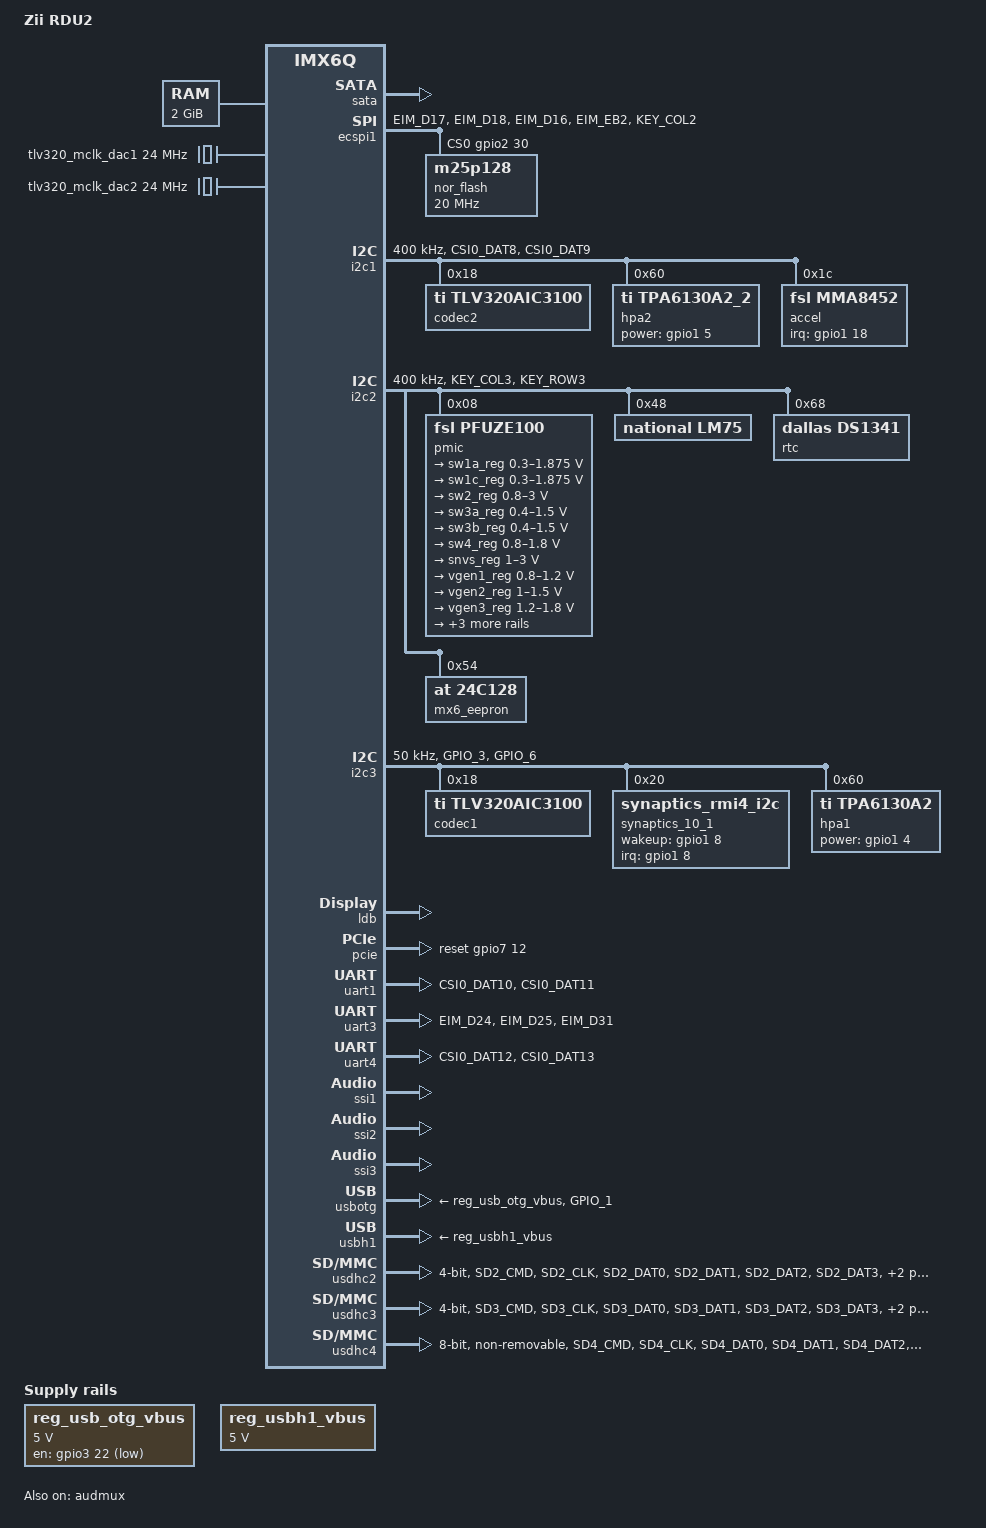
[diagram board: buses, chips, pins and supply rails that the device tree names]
/*
 * Copyright 2012 Freescale Semiconductor, Inc.
 * Copyright 2011 Linaro Ltd.
 *
 * The code contained herein is licensed under the GNU General Public
 * License. You may obtain a copy of the GNU General Public License
 * Version 2 or later at the following locations:
 *
 * http://www.opensource.org/licenses/gpl-license.html
 * http://www.gnu.org/copyleft/gpl.html
 */

#include "imx6q.dtsi"
#include <dt-bindings/sound/fsl-imx-audmux.h>

/ {
	model = "Zii RDU2";
	compatible = "fsl,imx6q-sabresd", "fsl,imx6q";

	chosen {
		stdout-path = &uart1;
	};

	aliases {
		mxcfb0 = &mxcfb1;
	};

	memory {
		reg = <0x10000000 0x80000000>;
	};

	regulators {
		compatible = "simple-bus";

		reg_usb_otg_vbus: usb_otg_vbus {
			compatible = "regulator-fixed";
			regulator-name = "usb_otg_vbus";
			regulator-min-microvolt = <5000000>;
			regulator-max-microvolt = <5000000>;
			gpio = <&gpio3 22 0>;
			enable-active-low;
			/*regulator-always-on;*/
		};

		reg_usbh1_vbus: usb-h1-vbus {
			compatible = "regulator-fixed";
			regulator-name = "usb_h1_vbus";
			regulator-min-microvolt = <5000000>;
			regulator-max-microvolt = <5000000>;
			regulator-always-on;
		};
	};

	lcd@0 {
		compatible = "fsl,lcd";
		ipu_id = <1>;
		disp_id = <0>;
		default_ifmt = "RGB24";
		status = "okay";
	};

	v4l2_out {
		compatible = "fsl,mxc_v4l2_output";
		status = "okay";
	};

	mxcfb1: fb@0 {
		compatible = "fsl,mxc_sdc_fb";
		disp_dev = "ldb";
		interface_pix_fmt = "RGB24";
		mode_str ="INNOLUX-10";
		default_bpp = <32>;
		int_clk = <0>;
		late_init = <0>;
		status = "okay";
	};

	tlv320_mclk_dac1: oscillator {
		compatible = "fixed-clock";
		#clock-cells = <0>;
		clock-frequency = <24000000>;
		clock-output-names = "tlv320-mclk";
	};

	tlv320_mclk_dac2: oscillator {
		compatible = "fixed-clock";
		#clock-cells = <0>;
		clock-frequency = <24000000>;
		clock-output-names = "tlv320-mclk";
	};

	sound1 {
		compatible = "fsl,imx-audio-tlv320aic31xx";
		model = "tlv320aic31xx_front-codec";
		cpu-dai = <&ssi2>;
		audio-codec = <&codec1>;
		audio-routing =
			"DAC Left Input", "DAC_IN",
			"DAC Right Input", "DAC_IN",
			"DAC Left", "DAC Left Input",
			"DAC Right", "DAC Right Input",
			"Output Left", "DAC Left",
			"Output Right", "DAC Right",
			"HP Left", "Output Left",
			"HP Right", "Output Right",
			"HPL Driver", "HP Left",
			"HPR Driver", "HP Right",
			"HPL", "HPL Driver",
			"HPR", "HPR Driver",
			"Headphone Jack", "HPL",
			"Headphone Jack", "HPR";

		mux-int-port = <2>;
		mux-ext-port = <5>;
	};

	sound2 {
		compatible = "fsl,imx-audio-tlv320aic31xx_2";
		model = "tlv320aic31xx_periph-codec";
		cpu-dai = <&ssi1>;
		audio-codec = <&codec2>;
		audio-routing =
			"DAC Left Input", "DAC_IN",
			"DAC Right Input", "DAC_IN",
			"DAC Left", "DAC Left Input",
			"DAC Right", "DAC Right Input",
			"Output Left", "DAC Left",
			"Output Right", "DAC Right",
			"HP Left", "Output Left",
			"HP Right", "Output Right",
			"HPL Driver", "HP Left",
			"HPR Driver", "HP Right",
			"HPL", "HPL Driver",
			"HPR", "HPR Driver",
			"Headphone Jack", "HPL",
			"Headphone Jack", "HPR";

		mux-int-port = <1>;
		mux-ext-port = <3>;
	};
};

&audmux {
	pinctrl-names = "default";
	/*pinctrl-0 = <&pinctrl_ssi1>;
	pinctrl-1 = <&pinctrl_ssi2>;*/
	status = "okay";
};

&sata {
	status = "okay";
};

&ecspi1 {
	fsl,spi-num-chipselects = <1>;
	cs-gpios = <&gpio2 30 0>;
	pinctrl-names = "default";
	pinctrl-0 = <&pinctrl_ecspi1>;
	status = "okay";

	nor_flash: m25p128@0 {
		#address-cells = <1>;
		#size-cells = <1>;
		compatible = "m25p128";
		spi-max-frequency = <20000000>;
		reg = <0>;
	};
};

&i2c1 {
	clock-frequency = <400000>;
	pinctrl-names = "default";
	pinctrl-0 = <&pinctrl_i2c1>;
	status = "okay";

	/*nfc*/

	/*edp*/

	/*audio_dac -- TODO DRIVER SUPPORT???? */
	codec2: tlv320dac3100@18 {
		#sound-dai-cells = <0>;
		compatible = "ti,tlv320aic3100";
		reg = <0x18>;
		clocks = <&tlv320_mclk_dac2>;
	};

	hpa2: tpa6130a2@60 {
		compatible = "ti,tpa6130a2_2";
		reg = <0x60>;
		power-gpios = <&gpio1 5 GPIO_ACTIVE_HIGH>;
	};

	accel: mma8451@1c {
		compatible = "fsl,mma8452";
		reg = <0x1c>;
		interrupt-parent = <&gpio1>;
		interrupts = <18 IRQ_TYPE_EDGE_RISING
					  20 IRQ_TYPE_EDGE_RISING>;
		pinctrl-names = "default";
		pinctrl-0 = <&pinctrl_accel_int>;
	};
};

&i2c2 {
	clock-frequency = <400000>;
	pinctrl-names = "default";
	pinctrl-0 = <&pinctrl_i2c2>;
	status = "okay";

	pmic: pfuze100@08 {
		compatible = "fsl,pfuze100";
		reg = <0x08>;

		regulators {
			/* VDDCORE */
			sw1a_reg: sw1ab {
				regulator-min-microvolt = <300000>;
				regulator-max-microvolt = <1875000>;
				regulator-boot-on;
				regulator-always-on;
				regulator-ramp-delay = <6250>;
			};

			/* VDDSOC */
			sw1c_reg: sw1c {
				regulator-min-microvolt = <300000>;
				regulator-max-microvolt = <1875000>;
				regulator-boot-on;
				regulator-always-on;
				regulator-ramp-delay = <6250>;
			};

			/* VDDHIGH_3V0 */
			sw2_reg: sw2 {
				regulator-min-microvolt = <800000>;
				regulator-max-microvolt = <3000000>;
				regulator-boot-on;
				regulator-always-on;
			};

			/* DDR_1V5 */
			sw3a_reg: sw3a {
				regulator-min-microvolt = <400000>;
				regulator-max-microvolt = <1500000>;
				regulator-boot-on;
				regulator-always-on;
			};

			/* DDR_1V5 */
			sw3b_reg: sw3b {
				regulator-min-microvolt = <400000>;
				regulator-max-microvolt = <1500000>;
				regulator-boot-on;
				regulator-always-on;
			};

			/* VGEN_1V8 */
			sw4_reg: sw4 {
				regulator-min-microvolt = <800000>;
				regulator-max-microvolt = <1800000>;
			};

			/* VSNVS_3V0 */
			snvs_reg: vsnvs {
				regulator-min-microvolt = <1000000>;
				regulator-max-microvolt = <3000000>;
				regulator-boot-on;
				regulator-always-on;
			};

			vref_reg: vrefddr {
				regulator-boot-on;
				regulator-always-on;
			};

			/* VGEN1_1V2 */
			vgen1_reg: vgen1 {
				regulator-min-microvolt = <800000>;
				regulator-max-microvolt = <1200000>;
			};

			/* VGEN2_1V5 */
			vgen2_reg: vgen2 {
				regulator-min-microvolt = <1000000>;
				regulator-max-microvolt = <1500000>;
			};

			/* VGEN3_1V8 */
			vgen3_reg: vgen3 {
				regulator-min-microvolt = <1200000>;
				regulator-max-microvolt = <1800000>;
			};

			/* VGEN4_1V8 */
			vgen4_reg: vgen4 {
				regulator-min-microvolt = <1200000>;
				regulator-max-microvolt = <1800000>;
				regulator-always-on;
			};

			/* VGEN5_2V5 */
			vgen5_reg: vgen5 {
				regulator-min-microvolt = <1800000>;
				regulator-max-microvolt = <2500000>;
				regulator-always-on;
			};

			/* VGEN6_2V8 */
			vgen6_reg: vgen6 {
				regulator-min-microvolt = <1800000>;
				regulator-max-microvolt = <2800000>;
				regulator-always-on;
			};
		};
	};

	lm75@48 {
		compatible = "national,lm75";
		reg = <0x48>;
	};

	rtc: ds1341@68 {
		compatible = "dallas,ds1341";
		reg = <0x68>;
	};

	mx6_eepron: at24@54 {
		compatible = "at,24c128";
		pagesize = <32>; /* TODO: VERIFY PAGE SIZE */
		reg = <0x54>;
	};

	/*switch wd - NO DRIVER YET*/

	/*audio mclk - NO DRIVER YET*/
};

&i2c3 {
	clock-frequency = <50000>;
	pinctrl-names = "default";
	pinctrl-0 = <&pinctrl_i2c3>;
	status = "okay";

	/* Audio dac1 - NEED TO LOOK INTO DRIVER */

	codec1: tlv320dac3100@18 {
		#sound-dai-cells = <0>;
		compatible = "ti,tlv320aic3100";
		reg = <0x18>;
		clocks = <&tlv320_mclk_dac1>;
	};

	/* USB Power Ctrl */

	/* Touch Screen */
	synaptics_10_1: synaptics_rmi4_i2c@20 {
		compatible = "synaptics_rmi4_i2c";
		reg = <0x20>;
		interrupt-parent = <&gpio1>;
		interrupts = <8 2>;
		wakeup-gpios = <&gpio1 8 0>;
	};

	hpa1: tpa6130a2@60 {
		compatible = "ti,tpa6130a2";
		reg = <0x60>;

		power-gpio = <&gpio1 4 GPIO_ACTIVE_HIGH>;
	};
};

&iomuxc {
	pinctrl-names = "default";
	pinctrl-0 = <&pinctrl_hog>;

	imx6qdl-sabresd {
		pinctrl_hog: hoggrp {
			fsl,pins = <
				/* USB Charging Controller */
				MX6QDL_PAD_EIM_A25__GPIO5_IO02  	0x1b0b0 /*USB_ATT_DETn*/
				MX6QDL_PAD_EIM_D19__GPIO3_IO19  	0x1b0b0 /*USB_EMULATION*/
				MX6QDL_PAD_EIM_D20__GPIO3_IO20  	0x1b0b0 /*USB_MODE1*/
				MX6QDL_PAD_EIM_D21__GPIO3_IO21  	0x1b0b0 /*USB_ALERTn*/
				MX6QDL_PAD_EIM_D22__GPIO3_IO22  	0x1b0b0 /*USB_PWR_CTRL_ENn*/
				MX6QDL_PAD_EIM_D23__GPIO3_IO23  	0x1b0b0 /*USB_MODE2*/

				/* DAC */
				MX6QDL_PAD_GPIO_0__GPIO1_IO00		0x1b0b0 /*DAC1_RESET*/
				MX6QDL_PAD_GPIO_2__GPIO1_IO02		0x1b0b0 /*DAC2_RESET*/

				/* Need to Place */
				MX6QDL_PAD_EIM_D30__GPIO3_IO30		0x1b0b0 /*RMII_INTRPT*/
				MX6QDL_PAD_SD3_RST__GPIO7_IO08		0x1b8b0 /*SD_CARD_RESET - Open Drain Output*/

				/* Audio AMP Shutdowns */
				MX6QDL_PAD_GPIO_4__GPIO1_IO04		0x1B818 /*HPA1_SD_N*/
				MX6QDL_PAD_GPIO_5__GPIO1_IO05		0x1B818 /*HPA2_SD_N*/

				/* Test Points */
				MX6QDL_PAD_SD3_DAT4__GPIO7_IO01		0x1b0b0 /*TP20*/
				MX6QDL_PAD_SD3_DAT5__GPIO7_IO00		0x1b0b0 /*TP21*/
				MX6QDL_PAD_SD3_DAT6__GPIO6_IO18		0x1b0b0 /*TP22*/
				MX6QDL_PAD_SD3_DAT7__GPIO6_IO17		0x1b0b0 /*TP23*/
				MX6QDL_PAD_KEY_ROW2__GPIO4_IO11		0x1b0b0 /*TP19*/
				MX6QDL_PAD_NANDF_CS1__GPIO6_IO14	0x1b0b0 /*TP26*/
				MX6QDL_PAD_NANDF_D4__GPIO2_IO04		0x1b0b0 /*TP27*/
				MX6QDL_PAD_NANDF_D5__GPIO2_IO05		0x1b0b0 /*TP28*/
				MX6QDL_PAD_NANDF_D6__GPIO2_IO06		0x1b0b0 /*TP29*/
				MX6QDL_PAD_NANDF_D7__GPIO2_IO07		0x1b0b0 /*TP30*/
				MX6QDL_PAD_EIM_BCLK__GPIO6_IO31		0x1b0b0 /*TP25*/
				MX6QDL_PAD_CSI0_MCLK__GPIO5_IO19	0x1b0b0 /*TP39*/
				MX6QDL_PAD_CSI0_PIXCLK__GPIO5_IO18	0x1b0b0 /*TP40*/
				MX6QDL_PAD_CSI0_VSYNC__GPIO5_IO21	0x1b0b0 /*TP42*/
				MX6QDL_PAD_CSI0_DATA_EN__GPIO5_IO20	0x1b0b0 /*TP43*/
				MX6QDL_PAD_CSI0_DAT14__GPIO6_IO00	0x1b0b0 /*TP44*/
				MX6QDL_PAD_CSI0_DAT15__GPIO6_IO01	0x1b0b0 /*TP45*/
				MX6QDL_PAD_CSI0_DAT16__GPIO6_IO02	0x1b0b0 /*TP46*/
				MX6QDL_PAD_DI0_PIN4__GPIO4_IO20		0x1b0b0 /*TP41*/

				/* System Type */
				MX6QDL_PAD_EIM_D26__GPIO3_IO26		0x1b0b0 /*SYS_TYPE_3*/
				MX6QDL_PAD_EIM_D27__GPIO3_IO27		0x1b0b0 /*SYS_TYPE_2*/
				MX6QDL_PAD_EIM_D28__GPIO3_IO28		0x1b0b0 /*SYS_TYPE_1*/
				MX6QDL_PAD_EIM_D29__GPIO3_IO29		0x1b0b0 /*SYS_TYPE_0*/

				/* Boot Mode Selection Pins */
				MX6QDL_PAD_EIM_DA0__GPIO3_IO00		0x1b0b0 /*BT_CFG1_0*/
				MX6QDL_PAD_EIM_DA1__GPIO3_IO01		0x1b0b0 /*BT_CFG1_1*/
				MX6QDL_PAD_EIM_DA2__GPIO3_IO02		0x1b0b0 /*BT_CFG1_2*/
				MX6QDL_PAD_EIM_DA3__GPIO3_IO03		0x1b0b0 /*BT_CFG1_3*/
				MX6QDL_PAD_EIM_DA4__GPIO3_IO04		0x1b0b0 /*BT_CFG1_4*/
				MX6QDL_PAD_EIM_DA5__GPIO3_IO05		0x1b0b0 /*BT_CFG1_5*/
				MX6QDL_PAD_EIM_DA6__GPIO3_IO06		0x1b0b0 /*BT_CFG1_6*/
				MX6QDL_PAD_EIM_DA7__GPIO3_IO07		0x1b0b0 /*BT_CFG1_7*/

				MX6QDL_PAD_EIM_DA8__GPIO3_IO08		0x1b0b0 /*BT_CFG2_0*/
				MX6QDL_PAD_EIM_DA9__GPIO3_IO09		0x1b0b0 /*BT_CFG2_1*/
				MX6QDL_PAD_EIM_DA10__GPIO3_IO10		0x1b0b0 /*BT_CFG2_2*/
				MX6QDL_PAD_EIM_DA11__GPIO3_IO11		0x1b0b0 /*BT_CFG2_3*/
				MX6QDL_PAD_EIM_DA12__GPIO3_IO12		0x1b0b0 /*BT_CFG2_4*/
				MX6QDL_PAD_EIM_DA13__GPIO3_IO13		0x1b0b0 /*BT_CFG2_5*/
				MX6QDL_PAD_EIM_DA14__GPIO3_IO14		0x1b0b0 /*BT_CFG2_6*/
				MX6QDL_PAD_EIM_DA15__GPIO3_IO15		0x1b0b0 /*BT_CFG2_7*/

				MX6QDL_PAD_EIM_A16__GPIO2_IO22		0x1b0b0 /*BT_CFG3_0*/
				MX6QDL_PAD_EIM_A17__GPIO2_IO21		0x1b0b0 /*BT_CFG3_1*/
				MX6QDL_PAD_EIM_A18__GPIO2_IO20		0x1b0b0 /*BT_CFG3_2*/
				MX6QDL_PAD_EIM_A19__GPIO2_IO19		0x1b0b0 /*BT_CFG3_3*/
				MX6QDL_PAD_EIM_A20__GPIO2_IO18		0x1b0b0 /*BT_CFG3_4*/
				MX6QDL_PAD_EIM_A21__GPIO2_IO17		0x1b0b0 /*BT_CFG3_5*/
				MX6QDL_PAD_EIM_A22__GPIO2_IO16		0x1b0b0 /*BT_CFG3_6*/
				MX6QDL_PAD_EIM_A23__GPIO6_IO06		0x1b0b0 /*BT_CFG3_7*/

				MX6QDL_PAD_EIM_A24__GPIO5_IO04		0x1b0b0 /*BT_CFG4_0*/
				MX6QDL_PAD_EIM_WAIT__GPIO5_IO00		0x1b0b0 /*BT_CFG4_1*/
				MX6QDL_PAD_EIM_LBA__GPIO2_IO27		0x1b0b0 /*BT_CFG4_2*/
				MX6QDL_PAD_EIM_EB0__GPIO2_IO28		0x1b0b0 /*BT_CFG4_3*/
				MX6QDL_PAD_EIM_EB1__GPIO2_IO29		0x1b0b0 /*BT_CFG4_4*/
				MX6QDL_PAD_EIM_RW__GPIO2_IO26		0x1b0b0 /*BT_CFG4_5*/
				MX6QDL_PAD_EIM_EB3__GPIO2_IO31		0x1b0b0 /*BT_CFG4_7*/

				MX6QDL_PAD_CSI0_DAT4__AUD3_TXC		0x130b0
				MX6QDL_PAD_CSI0_DAT5__AUD3_TXD		0x130b0
				MX6QDL_PAD_CSI0_DAT6__AUD3_TXFS		0x130b0

				MX6QDL_PAD_KEY_COL0__AUD5_TXC		0x130b0
				MX6QDL_PAD_KEY_ROW0__AUD5_TXD		0x130b0
				MX6QDL_PAD_KEY_COL1__AUD5_TXFS		0x130b0
			>;
		};

		pinctrl_mdio1: bitbangmdiogrp {
			fsl,pins = <
				/* Bitbang MDIO for DEB Switch */
				MX6QDL_PAD_CSI0_DAT19__GPIO6_IO05	0x1b030 /*SWITCH_MDC*/
				MX6QDL_PAD_CSI0_DAT18__GPIO6_IO04	0x18830 /*SWITCH_MDIO*/
			>;
		};

		pinctrl_accel_int: accelintgrp {
			fsl,pins = <
				/* ACCEL */
				MX6QDL_PAD_SD1_CMD__GPIO1_IO18		0x1b0b0 /*ACCL_INT1_OUT*/
				MX6QDL_PAD_SD1_CLK__GPIO1_IO20		0x1b0b0 /*ACCL_INT2_OUT*/
			>;
		};

		pinctrl_ecspi1: ecspi1grp {
			fsl,pins = <
				MX6QDL_PAD_EIM_D17__ECSPI1_MISO 	0x100b1
				MX6QDL_PAD_EIM_D18__ECSPI1_MOSI 	0x100b1
				MX6QDL_PAD_EIM_D16__ECSPI1_SCLK 	0x100b1
				MX6QDL_PAD_EIM_EB2__GPIO2_IO30		0x1b0b1
				MX6QDL_PAD_KEY_COL2__ECSPI1_SS1		0x1b0b1
				MX6QDL_PAD_KEY_COL2__GPIO4_IO10		0x1b0b1
			>;
		};

		pinctrl_enet: enetgrp {
			fsl,pins = <
				MX6QDL_PAD_GPIO_16__ENET_REF_CLK 		0x4001b0a8
				MX6QDL_PAD_ENET_MDIO__ENET_MDIO			0x1b0b0
				MX6QDL_PAD_ENET_MDC__ENET_MDC			0x1b0b0
				MX6QDL_PAD_ENET_TXD0__ENET_TX_DATA0 	0x1b0b0
				MX6QDL_PAD_ENET_TXD1__ENET_TX_DATA1 	0x1b0b0
				MX6QDL_PAD_ENET_TX_EN__ENET_TX_EN   	0x1b0b0
				MX6QDL_PAD_ENET_RX_ER__ENET_RX_ER   	0x1b0b0
				MX6QDL_PAD_ENET_RXD0__ENET_RX_DATA0 	0x1b0b0
				MX6QDL_PAD_ENET_RXD1__ENET_RX_DATA1 	0x1b0b0
				MX6QDL_PAD_ENET_CRS_DV__ENET_RX_EN  	0x1b0b0

				MX6QDL_PAD_ENET_REF_CLK__GPIO1_IO23	0x1b0b0
			>;
		};

		pinctrl_ssi1: ssi1grp {
			fsl,pins = <
				MX6QDL_PAD_CSI0_DAT4__AUD3_TXC		0x130b0
				MX6QDL_PAD_CSI0_DAT5__AUD3_TXD		0x130b0
				MX6QDL_PAD_CSI0_DAT6__AUD3_TXFS		0x130b0
			>;
		};

		pinctrl_ssi2: ssi3grp {
			fsl,pins = <
				MX6QDL_PAD_KEY_COL0__AUD5_TXC		0x130b0
				MX6QDL_PAD_KEY_ROW0__AUD5_TXD		0x130b0
				MX6QDL_PAD_KEY_COL1__AUD5_TXFS		0x130b0
			>;
		};

		pinctrl_i2c1: i2c1grp {
			fsl,pins = <
				MX6QDL_PAD_CSI0_DAT8__I2C1_SDA		0x4001b8b1
				MX6QDL_PAD_CSI0_DAT9__I2C1_SCL		0x4001b8b1
			>;
		};

		pinctrl_i2c2: i2c2grp {
			fsl,pins = <
				MX6QDL_PAD_KEY_COL3__I2C2_SCL		0x4001b8b1
				MX6QDL_PAD_KEY_ROW3__I2C2_SDA		0x4001b8b1
			>;
		};

		pinctrl_i2c3: i2c3grp {
			fsl,pins = <
				MX6QDL_PAD_GPIO_3__I2C3_SCL		0x4001b8b1
				MX6QDL_PAD_GPIO_6__I2C3_SDA		0x4001b8b1
			>;
		};

		pinctrl_pcie: pciegrp {
			fsl,pins = <
				MX6QDL_PAD_GPIO_17__GPIO7_IO12	0x1b0b0
			>;
		};

		pinctrl_uart1: uart1grp {
			fsl,pins = <
				MX6QDL_PAD_CSI0_DAT10__UART1_TX_DATA	0x1b0b1
				MX6QDL_PAD_CSI0_DAT11__UART1_RX_DATA	0x1b0b1
			>;
		};

		pinctrl_uart3: uart3grp {
			fsl,pins = <
				MX6QDL_PAD_EIM_D24__UART3_TX_DATA	0x1b0b1
				MX6QDL_PAD_EIM_D25__UART3_RX_DATA	0x1b0b1
				MX6QDL_PAD_EIM_D31__GPIO3_IO31		0x1b0b1
			>;
		};

		pinctrl_uart4: uart4grp {
			fsl,pins = <
				MX6QDL_PAD_CSI0_DAT12__UART4_TX_DATA	0x1b0b1
				MX6QDL_PAD_CSI0_DAT13__UART4_RX_DATA	0x1b0b1
			>;
		};

		pinctrl_usbotg: usbotggrp {
			fsl,pins = <
				MX6QDL_PAD_GPIO_1__USB_OTG_ID		0x13020 /*USB_OTG_ID*/
			>;
		};

		pinctrl_usdhc2: usdhc2grp {
			fsl,pins = <
				MX6QDL_PAD_SD2_CMD__SD2_CMD			0x17069
				MX6QDL_PAD_SD2_CLK__SD2_CLK			0x17069
				MX6QDL_PAD_SD2_DAT0__SD2_DATA0		0x17069
				MX6QDL_PAD_SD2_DAT1__SD2_DATA1		0x17069
				MX6QDL_PAD_SD2_DAT2__SD2_DATA2		0x17069
				MX6QDL_PAD_SD2_DAT3__SD2_DATA3		0x17069
			>;
		};

		pinctrl_usdhc3: usdhc3grp {
			fsl,pins = <
				MX6QDL_PAD_SD3_CMD__SD3_CMD			0x17069
				MX6QDL_PAD_SD3_CLK__SD3_CLK			0x17069
				MX6QDL_PAD_SD3_DAT0__SD3_DATA0		0x17069
				MX6QDL_PAD_SD3_DAT1__SD3_DATA1		0x17069
				MX6QDL_PAD_SD3_DAT2__SD3_DATA2		0x17069
				MX6QDL_PAD_SD3_DAT3__SD3_DATA3		0x17069
			>;
		};

		pinctrl_usdhc4: usdhc4grp {
			fsl,pins = <
				MX6QDL_PAD_SD4_CMD__SD4_CMD			0x17059
				MX6QDL_PAD_SD4_CLK__SD4_CLK			0x10059
				MX6QDL_PAD_SD4_DAT0__SD4_DATA0		0x17059
				MX6QDL_PAD_SD4_DAT1__SD4_DATA1		0x17059
				MX6QDL_PAD_SD4_DAT2__SD4_DATA2		0x17059
				MX6QDL_PAD_SD4_DAT3__SD4_DATA3		0x17059
				MX6QDL_PAD_SD4_DAT4__SD4_DATA4		0x17059
				MX6QDL_PAD_SD4_DAT5__SD4_DATA5		0x17059
				MX6QDL_PAD_SD4_DAT6__SD4_DATA6		0x17059
				MX6QDL_PAD_SD4_DAT7__SD4_DATA7		0x17059
				MX6QDL_PAD_NANDF_ALE__SD4_RESET		0x1b0b1
			>;
		};
	};

	gpio_leds {
		pinctrl_gpio_leds: gpioledsgrp {
			fsl,pins = <
				MX6QDL_PAD_GPIO_2__GPIO1_IO02 0x1b0b0
			>;
		};
	};
};

&gpc {
	/* use ldo-bypass, u-boot will check it and configure */
	fsl,ldo-bypass = <1>;
	fsl,wdog-reset = <2>;
};

&ldb {
	status = "okay";

	lvds-channel@0 {
		fsl,data-mapping = "spwg";
		fsl,data-width = <24>;
		crtc = "ipu2-di0";
		status = "okay";
		primary;

		display-timings {
			native-mode = <&timing_nec_12_1>;
			timing_innolux_10_1: innolux_10_1 {
				clock-frequency = <71100000>;
				hactive 		= <1280>;
				vactive 		= <800>;
				hback-porch 	= <40>;
				hfront-porch 	= <40>;
				vback-porch 	= <10>;
				vfront-porch 	= <3>;
				hsync-len 		= <80>;
				vsync-len 		= <10>;
				de-active 		= <1>;
				pixelclk-active = <1>;
			};

			timing_nec_12_1: nec_12_1 {
				clock-frequency = <70997515>;
				hactive 		= <1280>;
				vactive 		= <800>;
				hback-porch 	= <150>;
				hfront-porch 	= <10>;
				vback-porch 	= <20>;
				vfront-porch 	= <3>;
				hsync-len 		= <60>;
				vsync-len 		= <10>;
				de-active 		= <1>;
				pixelclk-active = <1>;
			};
		};
	};
};

&pcie {
	/*pinctrl-names = "default";
	pinctrl-0 = <&pinctrl_pcie>;*/
	reset-gpio = <&gpio7 12 0>;
	status = "okay";

	host@0 {
		#address-cells = <3>;
		#size-cells = <2>;
		reg = <0 0 0 0 0>;
		device_type = "pci";

		i210: i210@0 {
			reg = <0 0 0 0 0>;
			device_type = "pci";
		};
	};
};

&uart1 {
	pinctrl-names = "default";
	pinctrl-0 = <&pinctrl_uart1>;
	status = "okay";
};

&uart3 {
	pinctrl-names = "default";
	pinctrl-0 = <&pinctrl_uart3>;
	fsl,rs485_mode;
	fsl,rs485_data_enable_gpio = <&gpio3 31 GPIO_ACTIVE_HIGH>;
	status = "okay";
};

&uart4 {
	pinctrl-names = "default";
	pinctrl-0 = <&pinctrl_uart4>;
	status = "okay";
};

&ssi1 {
	status = "okay";
};

&ssi2 {
	status = "okay";
};

&ssi3 {
	status = "okay";
};

&usbotg {
	vbus-supply = <&reg_usb_otg_vbus>;
	pinctrl-names = "default";
	pinctrl-0 = <&pinctrl_usbotg>;
	disable-over-current;
	status = "okay";
};

&usbh1 {
	vbus-supply = <&reg_usbh1_vbus>;
	status = "okay";
};

&usdhc2 {
	pinctrl-names = "default";
	pinctrl-0 = <&pinctrl_usdhc2>;
	bus-width = <4>;
	cd-gpios = <&gpio2 2 GPIO_ACTIVE_LOW>;
	wp-gpios = <&gpio2 3 GPIO_ACTIVE_HIGH>;
	keep-power-in-suspend;
	enable-sdio-wakeup;
	status = "okay";
};

&usdhc3 {
	pinctrl-names = "default";
	pinctrl-0 = <&pinctrl_usdhc3>;
	bus-width = <4>;
	cd-gpios = <&gpio2 0 GPIO_ACTIVE_LOW>;
	wp-gpios = <&gpio2 1 GPIO_ACTIVE_HIGH>;
	keep-power-in-suspend;
	enable-sdio-wakeup;
	status = "okay";
};

&usdhc4 {
	pinctrl-names = "default";
	pinctrl-0 = <&pinctrl_usdhc4>;
	bus-width = <8>;
	non-removable;
	no-1-8-v;
	keep-power-in-suspend;
	status = "okay";
};
